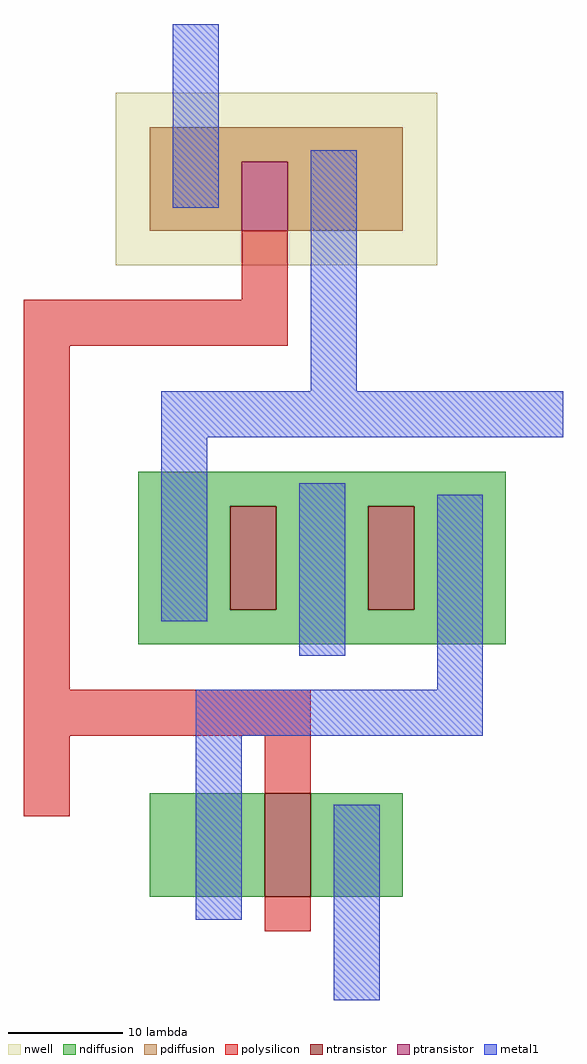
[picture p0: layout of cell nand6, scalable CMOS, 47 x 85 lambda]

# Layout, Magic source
magic
tech scmos
<< nwell >>
rect -16 9 12 24
<< polysilicon >>
rect -5 6 -1 12
rect -24 2 -1 6
rect -24 -28 -20 2
rect -24 -32 1 -28
rect -24 -39 -20 -32
rect -3 -37 1 -32
rect -3 -49 1 -46
<< ndiffusion >>
rect -14 -12 18 -9
rect -14 -21 -6 -12
rect -2 -21 6 -12
rect 10 -21 18 -12
rect -14 -24 18 -21
rect -13 -46 -3 -37
rect 1 -46 9 -37
<< pdiffusion >>
rect -13 18 9 21
rect -13 12 -5 18
rect -1 12 9 18
<< metal1 >>
rect -11 14 -7 30
rect 1 -2 5 19
rect -12 -6 23 -2
rect -12 -22 -8 -6
rect 0 -25 4 -10
rect 12 -28 16 -11
rect -9 -32 16 -28
rect -9 -48 -5 -32
rect 3 -55 7 -38
<< ntransistor >>
rect -6 -21 -2 -12
rect 6 -21 10 -12
rect -3 -46 1 -37
<< ptransistor >>
rect -5 12 -1 18
<< end >>
